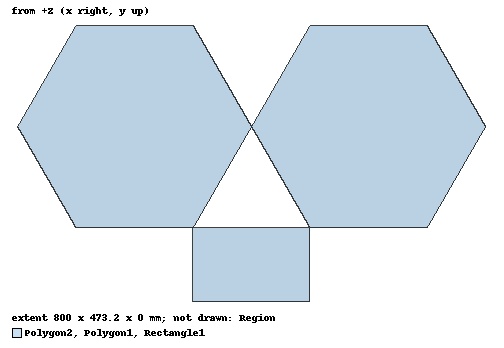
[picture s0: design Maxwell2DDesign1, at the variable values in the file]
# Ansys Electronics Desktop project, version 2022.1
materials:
  vacuum: permittivity=1
  iron: permeability=4000 conductivity=10300000

design Maxwell2DDesign1 (Maxwell 2D, Electrostatic, XY geometry, model units mm)
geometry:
  Polygon1 [vacuum] = regular_polygon(axis=Z, centre=(0mm, 0mm, 0mm), first_corner=(200mm, 0mm, 0mm), sides=6)
  Polygon2 [vacuum] = regular_polygon(axis=Z, centre=(400mm, 0mm, 0mm), first_corner=(200mm, 0mm, 0mm), sides=6)
  Rectangle1 [vacuum] = rectangle(corner=(100mm, -173.20508mm, 0mm), x_size=200mm, y_size=-126.79492mm)
  Region [vacuum] = region(percentage_offset=0 on all sides)
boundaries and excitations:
  Voltage1: Voltage Edges=Rectangle1.edge(y at corner) Value=100V
  Voltage2: Voltage Edges=Polygon1.edge(6 of 6) Polygon2.edge(1 of 6) Value=0V
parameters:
  Matrix1: Matrix Voltage1: NumberOfTurns=1
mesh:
  initial mesh: MeshMethod=AnsoftTAU
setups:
  Setup1: Electrostatic MaximumPasses=10 MinimumPasses=2 MinimumConvergedPasses=1 PercentRefinement=30 PercentError=1 ConstantDelta=0s NonLinearResidual=0.001
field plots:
  Voltage1: Voltage over Region on Setup1 : LastAdaptive
